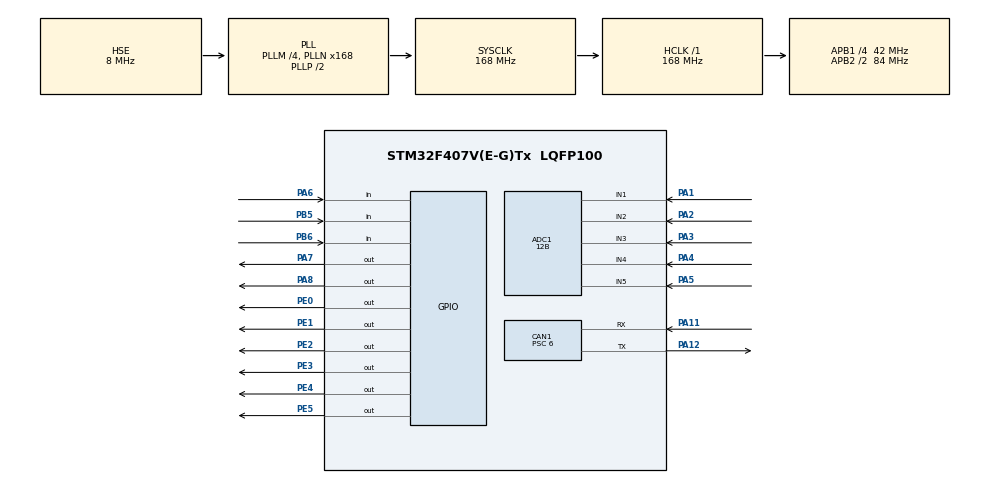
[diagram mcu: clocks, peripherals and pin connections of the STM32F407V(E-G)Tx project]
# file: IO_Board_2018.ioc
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ADC1.Channel-0\#ChannelRegularConversion=ADC_CHANNEL_1
ADC1.Channel-1\#ChannelRegularConversion=ADC_CHANNEL_2
ADC1.Channel-2\#ChannelRegularConversion=ADC_CHANNEL_3
ADC1.Channel-3\#ChannelRegularConversion=ADC_CHANNEL_4
ADC1.Channel-4\#ChannelRegularConversion=ADC_CHANNEL_5
ADC1.ClockPrescaler=ADC_CLOCK_SYNC_PCLK_DIV4
ADC1.ContinuousConvMode=ENABLE
ADC1.DMAContinuousRequests=ENABLE
ADC1.DataAlign=ADC_DATAALIGN_RIGHT
ADC1.DiscontinuousConvMode=DISABLE
ADC1.EOCSelection=ADC_EOC_SINGLE_CONV
ADC1.EnableAnalogWatchDog=false
ADC1.ExternalTrigConv=ADC_SOFTWARE_START
ADC1.ExternalTrigConvEdge=ADC_EXTERNALTRIGCONVEDGE_NONE
ADC1.InjNumberOfConversion=0
ADC1.NbrOfConversion=5
ADC1.NbrOfConversionFlag=1
ADC1.Rank-0\#ChannelRegularConversion=1
ADC1.Rank-1\#ChannelRegularConversion=2
ADC1.Rank-2\#ChannelRegularConversion=3
ADC1.Rank-3\#ChannelRegularConversion=4
ADC1.Rank-4\#ChannelRegularConversion=5
ADC1.Resolution=ADC_RESOLUTION_12B
ADC1.SamplingTime-0\#ChannelRegularConversion=ADC_SAMPLETIME_3CYCLES
ADC1.SamplingTime-1\#ChannelRegularConversion=ADC_SAMPLETIME_3CYCLES
ADC1.SamplingTime-2\#ChannelRegularConversion=ADC_SAMPLETIME_3CYCLES
ADC1.SamplingTime-3\#ChannelRegularConversion=ADC_SAMPLETIME_3CYCLES
ADC1.SamplingTime-4\#ChannelRegularConversion=ADC_SAMPLETIME_3CYCLES
ADC1.ScanConvMode=ENABLE
ADC1.master=1
CAN1.CalculateTimeBit=428
CAN1.CalculateTimeQuantum=142.85714285714286
CAN1.Prescaler=6
CAN1.TimeSeg1=CAN_BS1_11TQ
CAN1.TimeSeg2=CAN_BS2_2TQ
Dma.ADC1.0.Direction=DMA_PERIPH_TO_MEMORY
Dma.ADC1.0.FIFOMode=DMA_FIFOMODE_DISABLE
Dma.ADC1.0.Instance=DMA2_Stream0
Dma.ADC1.0.MemDataAlignment=DMA_MDATAALIGN_HALFWORD
Dma.ADC1.0.MemInc=DMA_MINC_ENABLE
Dma.ADC1.0.Mode=DMA_CIRCULAR
Dma.ADC1.0.PeriphDataAlignment=DMA_PDATAALIGN_HALFWORD
Dma.ADC1.0.PeriphInc=DMA_PINC_DISABLE
Dma.ADC1.0.Priority=DMA_PRIORITY_LOW
Dma.Request0=ADC1
Mcu.Family=STM32F4
Mcu.Name=STM32F407V(E-G)Tx
Mcu.Package=LQFP100
NVIC.DMA2_Stream0_IRQn=true\:0\:0\:false\:false\:true\:false
NVIC.PriorityGroup=NVIC_PRIORITYGROUP_4
PA1.Signal=ADCx_IN1
PA11.Mode=Master
PA11.Signal=CAN1_RX
PA12.Mode=Master
PA12.Signal=CAN1_TX
PA13.Mode=Serial_Wire
PA13.Signal=SYS_JTMS-SWDIO
PA14.Mode=Serial_Wire
PA14.Signal=SYS_JTCK-SWCLK
PA2.Signal=ADCx_IN2
PA3.Signal=ADCx_IN3
PA4.Signal=ADCx_IN4
PA5.Signal=ADCx_IN5
PA6.Signal=GPIO_Input
PA7.Signal=GPIO_Output
PA8.Signal=GPIO_Output
PB5.Signal=GPIO_Input
PB6.Signal=GPIO_Input
PE0.Signal=GPIO_Output
PE1.Signal=GPIO_Output
PE2.Signal=GPIO_Output
PE3.Signal=GPIO_Output
PE4.Signal=GPIO_Output
PE5.Signal=GPIO_Output
PH0-OSC_IN.Mode=HSE-External-Oscillator
PH0-OSC_IN.Signal=RCC_OSC_IN
PH1-OSC_OUT.Mode=HSE-External-Oscillator
PH1-OSC_OUT.Signal=RCC_OSC_OUT
ProjectManager.HeapSize=0x200
ProjectManager.StackSize=0x400
ProjectManager.TargetToolchain=TrueSTUDIO
RCC.48MHZClocksFreq_Value=84000000
RCC.AHBFreq_Value=168000000
RCC.APB1CLKDivider=RCC_HCLK_DIV4
RCC.APB1Freq_Value=42000000
RCC.APB1TimFreq_Value=84000000
RCC.APB2CLKDivider=RCC_HCLK_DIV2
RCC.APB2Freq_Value=84000000
RCC.APB2TimFreq_Value=168000000
RCC.CortexFreq_Value=168000000
RCC.HCLKFreq_Value=168000000
RCC.HSE_VALUE=8000000
RCC.HSI_VALUE=16000000
RCC.LSE_VALUE=32768
RCC.PLLM=4
RCC.PLLN=168
RCC.PLLSourceVirtual=RCC_PLLSOURCE_HSE
RCC.SYSCLKFreq_VALUE=168000000
RCC.SYSCLKSource=RCC_SYSCLKSOURCE_PLLCLK
RCC.VCOOutputFreq_Value=336000000
SH.ADCx_IN1.0=ADC1_IN1,IN1
SH.ADCx_IN2.0=ADC1_IN2,IN2
SH.ADCx_IN3.0=ADC1_IN3,IN3
SH.ADCx_IN4.0=ADC1_IN4,IN4
SH.ADCx_IN5.0=ADC1_IN5,IN5
board=IO_Board_2018

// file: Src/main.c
/**
  ******************************************************************************
  * @file           : main.c
  * @brief          : Main program body
  ******************************************************************************
  ** This notice applies to any and all portions of this file
  * that are not between comment pairs USER CODE BEGIN and
  * USER CODE END. Other portions of this file, whether
  * inserted by the user or by software development tools
  * are owned by their respective copyright owners.
  *
  * COPYRIGHT(c) 2018 STMicroelectronics
  *
  * Redistribution and use in source and binary forms, with or without modification,
  * are permitted provided that the following conditions are met:
  *   1. Redistributions of source code must retain the above copyright notice,
  *      this list of conditions and the following disclaimer.
  *   2. Redistributions in binary form must reproduce the above copyright notice,
  *      this list of conditions and the following disclaimer in the documentation
  *      and/or other materials provided with the distribution.
  *   3. Neither the name of STMicroelectronics nor the names of its contributors
  *      may be used to endorse or promote products derived from this software
  *      without specific prior written permission.
  *
  * THIS SOFTWARE IS PROVIDED BY THE COPYRIGHT HOLDERS AND CONTRIBUTORS "AS IS"
  * AND ANY EXPRESS OR IMPLIED WARRANTIES, INCLUDING, BUT NOT LIMITED TO, THE
  * IMPLIED WARRANTIES OF MERCHANTABILITY AND FITNESS FOR A PARTICULAR PURPOSE ARE
  * DISCLAIMED. IN NO EVENT SHALL THE COPYRIGHT HOLDER OR CONTRIBUTORS BE LIABLE
  * FOR ANY DIRECT, INDIRECT, INCIDENTAL, SPECIAL, EXEMPLARY, OR CONSEQUENTIAL
  * DAMAGES (INCLUDING, BUT NOT LIMITED TO, PROCUREMENT OF SUBSTITUTE GOODS OR
  * SERVICES; LOSS OF USE, DATA, OR PROFITS; OR BUSINESS INTERRUPTION) HOWEVER
  * CAUSED AND ON ANY THEORY OF LIABILITY, WHETHER IN CONTRACT, STRICT LIABILITY,
  * OR TORT (INCLUDING NEGLIGENCE OR OTHERWISE) ARISING IN ANY WAY OUT OF THE USE
  * OF THIS SOFTWARE, EVEN IF ADVISED OF THE POSSIBILITY OF SUCH DAMAGE.
  *
  ******************************************************************************
  */
#include "main.h"
#include "stm32f4xx_hal.h"
#include "adc.h"
#include "can.h"
#include "dma.h"
#include "gpio.h"

/* USER CODE BEGIN Includes */
#include "io.h"
#include "scheduler.h"

ADC_HandleTypeDef hadc1;
ADC_HandleTypeDef hadc2;
ADC_HandleTypeDef hadc3;
/* USER CODE END Includes */

/* USER CODE BEGIN PV */
/* Private variables ---------------------------------------------------------*/

/* USER CODE END PV */

void SystemClock_Config(void);

/* USER CODE BEGIN PFP */
/* Private function prototypes -----------------------------------------------*/

/* USER CODE END PFP */

/* USER CODE BEGIN 0 */
uint16_t adcValues[5];
/* USER CODE END 0 */

int main(void)
{

  /* MCU Configuration----------------------------------------------------------*/

  /* Reset of all peripherals, Initializes the Flash interface and the Systick. */
  HAL_Init();

  /* Configure the system clock */
  SystemClock_Config();

  /* Initialize all configured peripherals */
  MX_GPIO_Init();
  MX_DMA_Init();
  MX_ADC1_Init();
  MX_CAN1_Init();
  /* USER CODE BEGIN 2 */
  HAL_ADC_Start_DMA(&hadc1, (uint32_t *) adcValues, 5);

  Init_MyCAN();

  Schedule schedule;
  MakeSchedule(&schedule, 4);
  AddTask(&schedule, &mainLoop, 437);
  AddTask(&schedule, &readCANMessages, 1);
  AddTask(&schedule, &sendCANStatuses, 758);
  AddTask(&schedule, &sendHeartbeat, 1000);

  init();

  /* USER CODE END 2 */

  /* Infinite loop */
  /* USER CODE BEGIN WHILE */
  while (1)
  {
	  RunSchedule(&schedule);
	  /*HAL_Delay(500);
	  HAL_GPIO_WritePin(GROUP_BSE_LED, PIN_BSE_LED, LO);
	  HAL_GPIO_WritePin(GROUP_APPS_LED, PIN_APPS_LED, LO);
	  HAL_GPIO_WritePin(GROUP_BSPD_LED, PIN_BSPD_LED, LO);
	  HAL_GPIO_WritePin(GROUP_BPPC_LED, PIN_BPPC_LED, LO);
	  HAL_GPIO_WritePin(GROUP_FLT_R_LED, PIN_FLT_R_LED, LO);
	  HAL_GPIO_WritePin(GROUP_FLT_NR_LED, PIN_FLT_NR_LED, LO);
	  HAL_Delay(500);
	  HAL_GPIO_WritePin(GROUP_BSE_LED, PIN_BSE_LED, HI);
	  HAL_GPIO_WritePin(GROUP_APPS_LED, PIN_APPS_LED, HI);
	  HAL_GPIO_WritePin(GROUP_BSPD_LED, PIN_BSPD_LED, HI);
	  HAL_GPIO_WritePin(GROUP_BPPC_LED, PIN_BPPC_LED, HI);
	  HAL_GPIO_WritePin(GROUP_FLT_R_LED, PIN_FLT_R_LED, HI);
	  HAL_GPIO_WritePin(GROUP_FLT_NR_LED, PIN_FLT_NR_LED, HI);*/
  }
  /* USER CODE END WHILE */

  /* USER CODE BEGIN 3 */
  DeleteSchedule(schedule);
  /* USER CODE END 3 */

}

void SystemClock_Config(void)
{

  RCC_OscInitTypeDef RCC_OscInitStruct;
  RCC_ClkInitTypeDef RCC_ClkInitStruct;

    /**Configure the main internal regulator output voltage
    */
  __HAL_RCC_PWR_CLK_ENABLE();

  __HAL_PWR_VOLTAGESCALING_CONFIG(PWR_REGULATOR_VOLTAGE_SCALE1);

    /**Initializes the CPU, AHB and APB busses clocks
    */
  RCC_OscInitStruct.OscillatorType = RCC_OSCILLATORTYPE_HSE;
  RCC_OscInitStruct.HSEState = RCC_HSE_ON;
  RCC_OscInitStruct.PLL.PLLState = RCC_PLL_ON;
  RCC_OscInitStruct.PLL.PLLSource = RCC_PLLSOURCE_HSE;
  RCC_OscInitStruct.PLL.PLLM = 4;
  RCC_OscInitStruct.PLL.PLLN = 168;
  RCC_OscInitStruct.PLL.PLLP = RCC_PLLP_DIV2;
  RCC_OscInitStruct.PLL.PLLQ = 4;
  if (HAL_RCC_OscConfig(&RCC_OscInitStruct) != HAL_OK)
  {
    _Error_Handler(__FILE__, __LINE__);
  }

    /**Initializes the CPU, AHB and APB busses clocks
    */
  RCC_ClkInitStruct.ClockType = RCC_CLOCKTYPE_HCLK|RCC_CLOCKTYPE_SYSCLK
                              |RCC_CLOCKTYPE_PCLK1|RCC_CLOCKTYPE_PCLK2;
  RCC_ClkInitStruct.SYSCLKSource = RCC_SYSCLKSOURCE_PLLCLK;
  RCC_ClkInitStruct.AHBCLKDivider = RCC_SYSCLK_DIV1;
  RCC_ClkInitStruct.APB1CLKDivider = RCC_HCLK_DIV4;
  RCC_ClkInitStruct.APB2CLKDivider = RCC_HCLK_DIV2;

  if (HAL_RCC_ClockConfig(&RCC_ClkInitStruct, FLASH_LATENCY_5) != HAL_OK)
  {
    _Error_Handler(__FILE__, __LINE__);
  }

    /**Configure the Systick interrupt time
    */
  HAL_SYSTICK_Config(HAL_RCC_GetHCLKFreq()/1000);

    /**Configure the Systick
    */
  HAL_SYSTICK_CLKSourceConfig(SYSTICK_CLKSOURCE_HCLK);

  /* SysTick_IRQn interrupt configuration */
  HAL_NVIC_SetPriority(SysTick_IRQn, 0, 0);
}

void _Error_Handler(char *file, int line)
{
  while(1)
  {
  }
}

/************************ (C) COPYRIGHT STMicroelectronics *****END OF FILE****/
